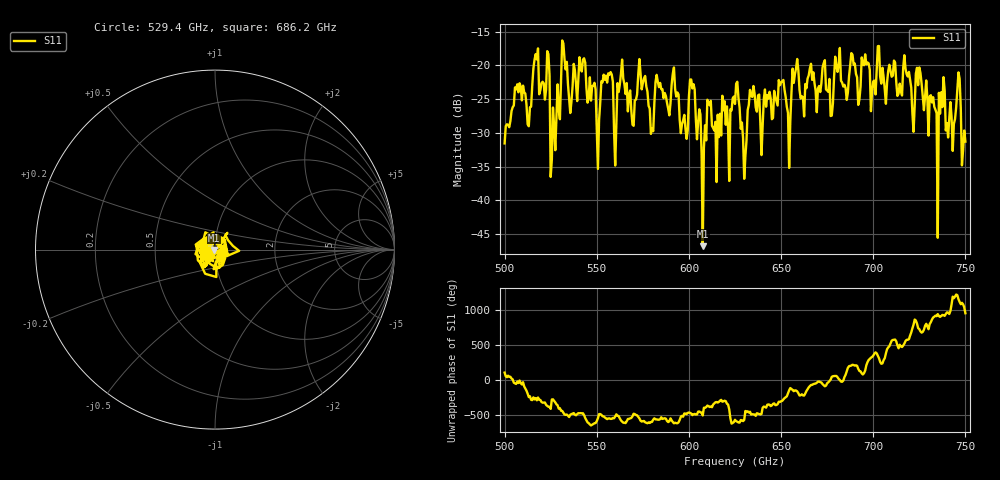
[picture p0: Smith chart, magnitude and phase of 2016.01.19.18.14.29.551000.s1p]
!Created with skrf (http://scikit-rf.org).
# GHz S RI R 50.0
!freq ReS11 ImS11
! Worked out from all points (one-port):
!   401 points, 500 GHz to 750 GHz, reference 50 ohm
!   lowest |S11| = -46.8 dB at 607.5 GHz (marker M1), VSWR 1.01, Z = 49.6 - j0.207 ohm
!   |S11| at or under -10 dB: start of sweep to end of sweep
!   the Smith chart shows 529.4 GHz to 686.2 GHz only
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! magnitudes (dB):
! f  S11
! 500 GHz  -31.6
! 506.9 GHz  -22.8
! 513.1 GHz  -29.0
! 516.9 GHz  -18.3
! 523.1 GHz  -17.9
! 526.2 GHz  -26.3
! 531.2 GHz  -16.3
! 542.5 GHz  -19.2
! 550.6 GHz  -35.4
! 556.9 GHz  -21.4
! 560.6 GHz  -28.6
! 562.5 GHz  -22.9
! 593.8 GHz  -24.0
! 598.1 GHz  -29.4
! 601.9 GHz  -23.4
! 607.5 GHz  -46.8
! 611.2 GHz  -25.9
! 616.2 GHz  -30.6
! 625 GHz  -25.7
! 630 GHz  -36.8
! 634.4 GHz  -24.7
! 653.8 GHz  -27.1
! 656.2 GHz  -20.5
! 687.5 GHz  -20.0
! 718.8 GHz  -21.7
! 733.8 GHz  -26.6
! 746.2 GHz  -21.0
! 750 GHz  -31.3
